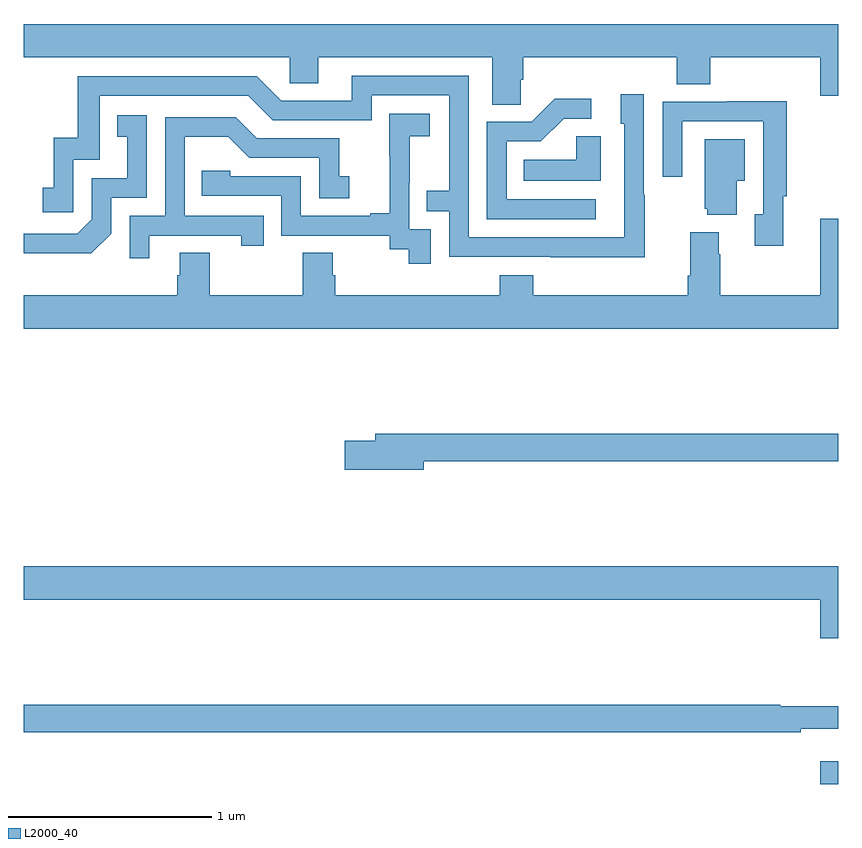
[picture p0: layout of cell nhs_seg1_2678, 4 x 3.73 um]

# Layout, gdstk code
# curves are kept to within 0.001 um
import gdstk
lib = gdstk.Library(unit=1e-6, precision=1e-09)
def R(c, l, rs):  # rectangles x0, y0, x1, y1
    for r in rs: c.add(gdstk.rectangle(r[:2], r[2:], *l))
def P(c, l, *ps):  # polygons
    for p in ps: c.add(gdstk.Polygon(p, *l))
L2000_40 = (2000, 40)

nhs_seg1_2678 = lib.new_cell('nhs_seg1_2678')
R(nhs_seg1_2678, L2000_40, [(260.912,512.199,261,512.311)])
P(nhs_seg1_2678, L2000_40, [(259.44,515.659),(259.454,515.659),(259.454,515.768),(260.207,515.768),(260.207,515.635),(260.372,515.635),(260.372,515.768),(260.912,515.768),(260.912,515.58),(261,515.58),(261,515.932),(257,515.932),(257,515.768),(258.306,515.768),(258.306,515.641),(258.445,515.641),(258.445,515.768),(259.301,515.768),(259.301,515.536),(259.44,515.536)],
  [(260.049,515.093),(260.046,515.093),(260.046,515.587),(259.931,515.587),(259.931,515.442),(259.95,515.442),(259.95,514.884),(259.185,514.884),(259.185,515.679),(258.611,515.679),(258.611,515.556),(258.264,515.556),(258.144,515.676),(257.265,515.676),(257.265,515.374),(257.147,515.374),(257.147,515.127),(257.094,515.127),(257.094,515.007),(257.244,515.007),(257.244,515.265),(257.373,515.265),(257.373,515.58),(258.102,515.58),(258.222,515.46),(258.708,515.46),(258.708,515.583),(259.089,515.583),(259.089,515.114),(258.979,515.114),(258.979,515.013),(259.089,515.013),(259.089,514.788),(260.049,514.787)],
  [(259.81,515.07),(259.371,515.07),(259.371,515.355),(259.54,515.355),(259.651,515.466),(259.786,515.466),(259.786,515.564),(259.607,515.564),(259.494,515.451),(259.275,515.451),(259.275,514.974),(259.81,514.974)],
  [(260.729,515.086),(260.747,515.086),(260.747,515.552),(260.455,515.552),(260.455,515.55),(260.139,515.55),(260.139,515.181),(260.235,515.181),(260.235,515.454),(260.631,515.454),(260.631,514.998),(260.591,514.998),(260.591,514.842),(260.729,514.842)],
  [(258.999,514.923),(258.894,514.923),(258.894,515.153),(258.896,515.153),(258.896,515.381),(258.994,515.381),(258.994,515.491),(258.796,515.491),(258.796,515.285),(258.797,515.285),(258.797,515.002),(258.701,515.002),(258.701,514.989),(258.36,514.989),(258.36,515.184),(258.015,515.184),(258.015,515.211),(257.875,515.211),(257.875,515.088),(258.264,515.088),(258.264,514.893),(258.798,514.893),(258.798,514.825),(258.891,514.825),(258.891,514.755),(258.999,514.755)],
  [(257.43,514.902),(257.43,515.079),(257.604,515.079),(257.604,515.485),(257.458,515.485),(257.458,515.379),(257.507,515.379),(257.507,515.175),(257.334,515.175),(257.334,514.974),(257.262,514.902),(257,514.902),(257,514.805),(257.332,514.805)],
  [(257.617,514.893),(258.068,514.893),(258.068,514.842),(258.179,514.842),(258.179,514.989),(257.79,514.989),(257.79,515.378),(258.004,515.378),(258.108,515.274),(258.45,515.274),(258.45,515.076),(258.598,515.076),(258.598,515.185),(258.549,515.185),(258.549,515.37),(258.145,515.37),(258.04,515.475),(257.694,515.475),(257.694,514.989),(257.52,514.989),(257.52,514.782),(257.617,514.782)],
  [(259.834,515.381),(259.713,515.381),(259.713,515.266),(259.456,515.266),(259.456,515.162),(259.834,515.162)],
  [(260.503,515.162),(260.542,515.162),(260.542,515.365),(260.345,515.365),(260.345,515.025),(260.357,515.025),(260.357,514.994),(260.503,514.994)],
  [(261,514.975),(260.912,514.975),(260.912,514.6),(260.421,514.6),(260.421,514.802),(260.413,514.802),(260.413,514.909),(260.273,514.909),(260.273,514.696),(260.261,514.696),(260.261,514.6),(259.502,514.6),(259.502,514.699),(259.337,514.699),(259.337,514.6),(258.529,514.6),(258.529,514.698),(258.517,514.698),(258.517,514.808),(258.37,514.808),(258.37,514.6),(257.913,514.6),(257.913,514.808),(257.765,514.808),(257.765,514.698),(257.753,514.698),(257.753,514.6),(257,514.6),(257,514.436),(261,514.436)],
  [(258.964,513.784),(261,513.784),(261,513.92),(258.725,513.92),(258.725,513.884),(258.576,513.884),(258.576,513.742),(258.964,513.742)],
  [(261,513.268),(257,513.268),(257,513.104),(260.912,513.104),(260.912,512.916),(261,512.916)],
  [(260.816,512.471),(261,512.471),(261,512.581),(260.716,512.581),(260.716,512.588),(257,512.588),(257,512.452),(260.816,512.452)])

lib.write_gds('nhs_seg1_2678.gds')
